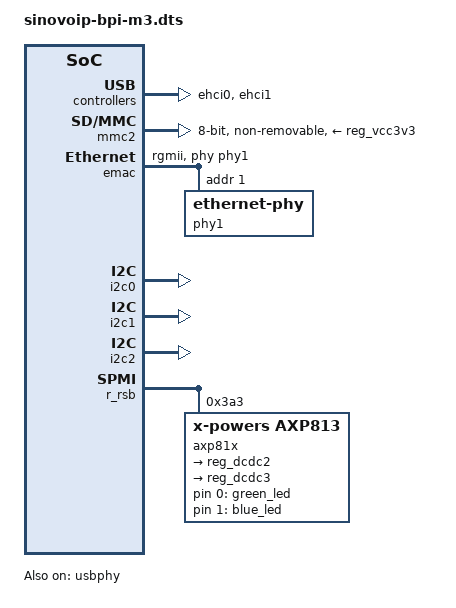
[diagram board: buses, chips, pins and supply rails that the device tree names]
/*-
 * Copyright (c) 2016 Jared McNeill <jmcneill@invisible.ca>
 * All rights reserved.
 *
 * Redistribution and use in source and binary forms, with or without
 * modification, are permitted provided that the following conditions
 * are met:
 * 1. Redistributions of source code must retain the above copyright
 *    notice, this list of conditions and the following disclaimer.
 * 2. Redistributions in binary form must reproduce the above copyright
 *    notice, this list of conditions and the following disclaimer in the
 *    documentation and/or other materials provided with the distribution.
 *
 * THIS SOFTWARE IS PROVIDED BY THE AUTHOR AND CONTRIBUTORS ``AS IS'' AND
 * ANY EXPRESS OR IMPLIED WARRANTIES, INCLUDING, BUT NOT LIMITED TO, THE
 * IMPLIED WARRANTIES OF MERCHANTABILITY AND FITNESS FOR A PARTICULAR PURPOSE
 * ARE DISCLAIMED.  IN NO EVENT SHALL THE AUTHOR OR CONTRIBUTORS BE LIABLE
 * FOR ANY DIRECT, INDIRECT, INCIDENTAL, SPECIAL, EXEMPLARY, OR CONSEQUENTIAL
 * DAMAGES (INCLUDING, BUT NOT LIMITED TO, PROCUREMENT OF SUBSTITUTE GOODS
 * OR SERVICES; LOSS OF USE, DATA, OR PROFITS; OR BUSINESS INTERRUPTION)
 * HOWEVER CAUSED AND ON ANY THEORY OF LIABILITY, WHETHER IN CONTRACT, STRICT
 * LIABILITY, OR TORT (INCLUDING NEGLIGENCE OR OTHERWISE) ARISING IN ANY WAY
 * OUT OF THE USE OF THIS SOFTWARE, EVEN IF ADVISED OF THE POSSIBILITY OF
 * SUCH DAMAGE.
 *
 * $FreeBSD$
 */

#include "sun8i-a83t-sinovoip-bpi-m3.dts"
#include "a83t.dtsi"

/ {
	cpus {
		cpu@0 {
			cpu-supply = <&reg_dcdc2>;
			operating-points = <
				/* kHz    uV */
				1200000	840000
				1008000	840000
				648000	840000
				408000	840000
				>;
		};

		cpu@100 {
			cpu-supply = <&reg_dcdc3>;
			operating-points = <
				/* kHz    uV */
				1200000	840000
				1008000	840000
				648000	840000
				408000	840000
				>;
		};
	};
};

&ehci0 {
	status = "okay";
};

&ehci1 {
	status = "okay";
};

&reg_ahci_5v {
	gpio = <&pio 3 25 GPIO_ACTIVE_HIGH>;	/* PD25 */
	status = "okay";
};

&ahci_pwr_pin_a {
	allwinner,pins = "PD25";
};

&reg_usb1_vbus {
	gpio = <&pio 3 24 GPIO_ACTIVE_HIGH>;	/* PD24 */
	status = "okay";
};

&usb1_vbus_pin_a {
	allwinner,pins = "PD24";
};

&usbphy {
	usb1_vbus-supply = <&reg_usb1_vbus>;
	status = "okay";
};

&mmc2 {
	pinctrl-names = "default";
	pinctrl-0 = <&mmc2_8bit_pins>;
	vmmc-supply = <&reg_vcc3v3>;
	bus-width = <8>;
	non-removable;
	status = "okay";
};

&emac {
	pinctrl-names = "default";
	pinctrl-0 = <&emac_pins_rgmii_a>;
	phy = <&phy1>;
	phy-mode = "rgmii";
	status = "okay";

	phy1: ethernet-phy@1 {
		reg = <1>;
	};
};

&emac_tx_clk {
	/* EMAC transmit/receive clock delay chain values for BPI-M3 */
	tx-delay = <0x7>;
	rx-delay = <0x7>;
};

&i2c0 {
	pinctrl-names = "default";
	pinctrl-0 = <&i2c0_pins_a>;
	status = "okay";
};

&i2c1 {
	pinctrl-names = "default";
	pinctrl-0 = <&i2c1_pins_a>;
	status = "okay";
};

&i2c2 {
	pinctrl-names = "default";
	pinctrl-0 = <&i2c2_pins_a>;
	status = "okay";
};

&r_rsb {
	status = "okay";

	axp81x: pmic@3a3 {
		compatible = "x-powers,axp813";
		reg = <0x3a3>;
		interrupt-parent = <&nmi_intc>;
		interrupts = <0 IRQ_TYPE_LEVEL_LOW>;
		gpio-controller;
		#gpio-cells = <1>;

		regulators {
			reg_dcdc2: dcdc2 {
				regulator-name = "dcdc2";
			};

			reg_dcdc3: dcdc3 {
				regulator-name = "dcdc3";
			};
		};
	};
};

/ {
	leds {
		compatible = "gpio-leds";

		green_led {
			gpios = <&axp81x 0>;	/* AXP PMIC GPIO0 */
			label = "green_led";
		};

		blue_led {
			gpios = <&axp81x 1>;	/* AXP PMIC GPIO1 */
			label = "blue_led";
		};
	};
};
